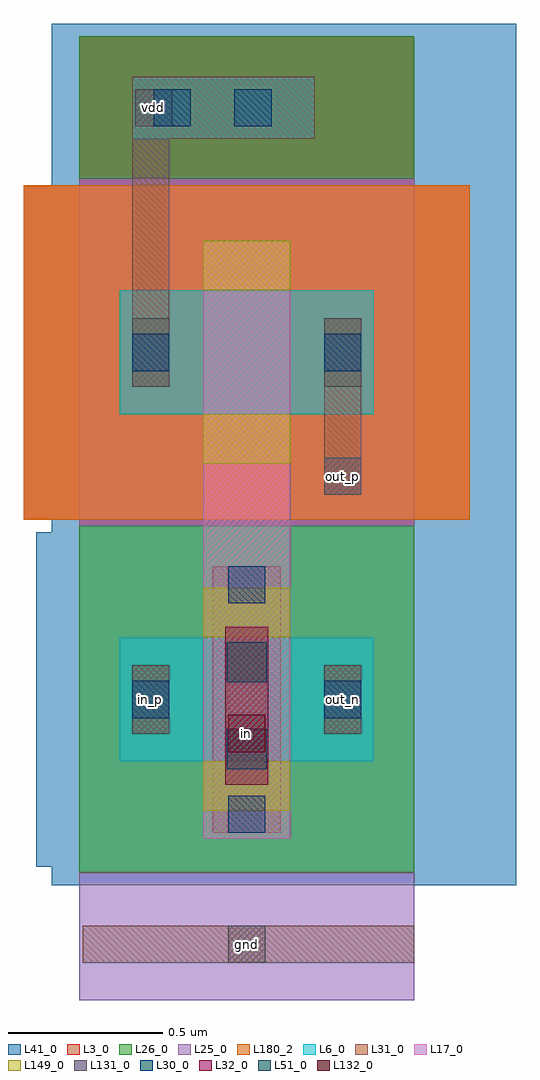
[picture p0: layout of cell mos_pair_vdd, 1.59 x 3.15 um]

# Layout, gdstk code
from math import pi, radians
import gdstk
lib = gdstk.Library(unit=1e-6, precision=1e-09)
def R(c, l, rs):  # rectangles x0, y0, x1, y1
    for r in rs: c.add(gdstk.rectangle(r[:2], r[2:], *l))
L3_0 = (3, 0)
L6_0 = (6, 0)
L17_0 = (17, 0)
L25_0 = (25, 0)
L26_0 = (26, 0)
L30_0 = (30, 0)
L31_0 = (31, 0)
L32_0 = (32, 0)
L41_0 = (41, 0)
L51_0 = (51, 0)
L131_0 = (131, 0)
L132_0 = (132, 0)
L149_0 = (149, 0)
L180_2 = (180, 2)

pc_ct = lib.new_cell('pc_ct')
R(pc_ct, L30_0, [(0,0,0.12,0.12)])

nsvt25_cdns_588001532920 = lib.new_cell('nsvt25_CDNS_588001532920')
R(nsvt25_cdns_588001532920, L6_0, [(-0.27,0,0,0.4), (-0.27,0,0.55,0.4), (0.28,0,0.55,0.4)])
R(nsvt25_cdns_588001532920, L17_0, [(0,-0.16,0.28,0.56)])
R(nsvt25_cdns_588001532920, L26_0, [(-0.4,-0.36,0.68,0.76)])
R(nsvt25_cdns_588001532920, L31_0, [(-0.23,0.09,-0.11,0.31), (0.39,0.09,0.51,0.31)])
R(nsvt25_cdns_588001532920, L41_0, [(-0.54,-0.34,0.82,0.74)])
R(nsvt25_cdns_588001532920, L131_0, [(-0.23,0.09,-0.11,0.31), (0.39,0.09,0.51,0.31)])
R(nsvt25_cdns_588001532920, L149_0, [(0,-0.16,0.28,0), (0,0.4,0.28,0.56)])
r = gdstk.Reference(pc_ct, (0.39,0.14)); r.repetition = gdstk.Repetition(1, 1, v1=(0.26,0), v2=(0,0.26)); nsvt25_cdns_588001532920.add(r)
r = gdstk.Reference(pc_ct, (-0.23,0.14)); r.repetition = gdstk.Repetition(1, 1, v1=(0.26,0), v2=(0,0.26)); nsvt25_cdns_588001532920.add(r)
nsvt25_cdns_588001532920.add(gdstk.Label('d', (0.28,0), layer=6, texttype=0))
nsvt25_cdns_588001532920.add(gdstk.Label('s', (0,0), layer=6, texttype=0))
nsvt25_cdns_588001532920.add(gdstk.Label('d', (0.415,0.2), layer=127, texttype=0))
nsvt25_cdns_588001532920.add(gdstk.Label('s', (-0.135,0.2), layer=127, texttype=0))
nsvt25_cdns_588001532920.add(gdstk.Label('d', (0.45,0.2), layer=131, texttype=0))
nsvt25_cdns_588001532920.add(gdstk.Label('s', (-0.17,0.2), layer=131, texttype=0))
nsvt25_cdns_588001532920.add(gdstk.Label('g', (0.14,0.48), layer=149, texttype=0))
nsvt25_cdns_588001532920.add(gdstk.Label('g', (0.14,-0.08), layer=149, texttype=0))

psvt25_cdns_588001532921 = lib.new_cell('psvt25_CDNS_588001532921')
R(psvt25_cdns_588001532921, L3_0, [(-0.58,-0.34,0.86,0.74)])
R(psvt25_cdns_588001532921, L6_0, [(-0.27,0,0,0.4), (-0.27,0,0.55,0.4), (0.28,0,0.55,0.4)])
R(psvt25_cdns_588001532921, L17_0, [(0,-0.16,0.28,0.56)])
R(psvt25_cdns_588001532921, L25_0, [(-0.4,-0.36,0.68,0.76)])
R(psvt25_cdns_588001532921, L31_0, [(-0.23,0.09,-0.11,0.31), (0.39,0.09,0.51,0.31)])
R(psvt25_cdns_588001532921, L41_0, [(-0.58,-0.34,0.86,0.74)])
R(psvt25_cdns_588001532921, L131_0, [(-0.23,0.09,-0.11,0.31), (0.39,0.09,0.51,0.31)])
R(psvt25_cdns_588001532921, L149_0, [(0,-0.16,0.28,0), (0,0.4,0.28,0.56)])
R(psvt25_cdns_588001532921, L180_2, [(-0.58,-0.34,0.86,0.74)])
r = gdstk.Reference(pc_ct, (0.39,0.14)); r.repetition = gdstk.Repetition(1, 1, v1=(0.26,0), v2=(0,0.26)); psvt25_cdns_588001532921.add(r)
r = gdstk.Reference(pc_ct, (-0.23,0.14)); r.repetition = gdstk.Repetition(1, 1, v1=(0.26,0), v2=(0,0.26)); psvt25_cdns_588001532921.add(r)
psvt25_cdns_588001532921.add(gdstk.Label('d', (0.28,0), layer=6, texttype=0))
psvt25_cdns_588001532921.add(gdstk.Label('s', (0,0), layer=6, texttype=0))
psvt25_cdns_588001532921.add(gdstk.Label('d', (0.415,0.2), layer=127, texttype=0))
psvt25_cdns_588001532921.add(gdstk.Label('s', (-0.135,0.2), layer=127, texttype=0))
psvt25_cdns_588001532921.add(gdstk.Label('d', (0.45,0.2), layer=131, texttype=0))
psvt25_cdns_588001532921.add(gdstk.Label('s', (-0.17,0.2), layer=131, texttype=0))
psvt25_cdns_588001532921.add(gdstk.Label('g', (0.14,0.48), layer=149, texttype=0))
psvt25_cdns_588001532921.add(gdstk.Label('g', (0.14,-0.08), layer=149, texttype=0))
psvt25_cdns_588001532921.add(gdstk.Label('b', (0.14,0.2), layer=180, texttype=2))

m1__po_cdns_588001532920 = lib.new_cell('M1__PO_CDNS_588001532920')
R(m1__po_cdns_588001532920, L17_0, [(-0.08,-0.11,0.08,0.11)])
R(m1__po_cdns_588001532920, L30_0, [(-0.06,-0.06,0.06,0.06)])
R(m1__po_cdns_588001532920, L31_0, [(-0.06,-0.11,0.06,0.11)])

m2_m1_g_cdns_58800153292 = lib.new_cell('M2_M1_G_CDNS_588001532921')
R(m2_m1_g_cdns_58800153292, L31_0, [(-0.255,-0.07,0.255,0.07)])
R(m2_m1_g_cdns_58800153292, L32_0, [(-0.255,-0.07,0.255,0.07)])
R(m2_m1_g_cdns_58800153292, L51_0, [(-0.205,-0.065,-0.075,0.065), (0.075,-0.065,0.205,0.065)])

mos_pair_vdd = lib.new_cell('mos_pair_vdd')
R(mos_pair_vdd, L3_0, [(0,1.12,1.08,2.7)])
R(mos_pair_vdd, L17_0, [(0.4,0.11,0.68,0.2)])
R(mos_pair_vdd, L25_0, [(0,-0.41,1.08,0)])
R(mos_pair_vdd, L26_0, [(0,2.24,0.04,2.7), (0.89,2.24,1.08,2.7)])
R(mos_pair_vdd, L30_0, [(0.24,2.41,0.36,2.53), (0.5,2.41,0.62,2.53)])
R(mos_pair_vdd, L31_0, [(0.43,0.25,0.65,0.87)])
R(mos_pair_vdd, L41_0, [(-0.09,-0.04,1.41,2.74)])
R(mos_pair_vdd, L131_0, [(0.48,-0.29,0.6,-0.17), (0.17,0.5,0.29,0.62), (0.79,0.5,0.91,0.62), (0.79,1.22,0.91,1.34), (0.18,2.41,0.3,2.53)])
R(mos_pair_vdd, L132_0, [(0.48,0.39,0.6,0.51)])
mos_pair_vdd.add(gdstk.FlexPath([(0.17,2.47),(0.76,2.47)], 0.2, ends="flush", simple_path=True, layer=6, datatype=0))  # L6_0
mos_pair_vdd.add(gdstk.FlexPath([(0.85,1.57),(0.85,1.22)], 0.12, ends="flush", simple_path=True, layer=31, datatype=0))  # L31_0
mos_pair_vdd.add(gdstk.FlexPath([(1.08,-0.23),(0.17,-0.23)], 0.12, ends="flush", simple_path=True, layer=31, datatype=0))  # L31_0
mos_pair_vdd.add(gdstk.FlexPath([(0.17,-0.23),(0.01,-0.23)], 0.12, ends="flush", simple_path=True, layer=31, datatype=0))  # L31_0
mos_pair_vdd.add(gdstk.FlexPath([(0.23,2.47),(0.18,2.47)], 0.12, ends=(0.06, 0), simple_path=True, layer=31, datatype=0))  # L31_0
mos_pair_vdd.add(gdstk.FlexPath([(0.23,1.79),(0.23,2.47)], 0.12, ends=(0, 0.06), simple_path=True, layer=31, datatype=0))  # L31_0
mos_pair_vdd.add(gdstk.FlexPath([(0.17,2.47),(0.76,2.47)], 0.2, ends="flush", simple_path=True, layer=31, datatype=0))  # L31_0
mos_pair_vdd.add(gdstk.FlexPath([(0.54,1.32),(0.54,0.92)], 0.28, ends="flush", simple_path=True, layer=17, datatype=0))  # L17_0
mos_pair_vdd.add(gdstk.FlexPath([(0.04,2.47),(0.89,2.47)], 0.46, ends="flush", simple_path=True, layer=26, datatype=0))  # L26_0
mos_pair_vdd.add(gdstk.Reference(nsvt25_cdns_588001532920, (0.4,0.36)))
mos_pair_vdd.add(gdstk.Reference(psvt25_cdns_588001532921, (0.4,1.48)))
mos_pair_vdd.add(gdstk.Reference(m1__po_cdns_588001532920, (0.54,0.93), rotation=pi/2))
mos_pair_vdd.add(gdstk.Reference(m1__po_cdns_588001532920, (0.54,0.19), rotation=pi/2))
mos_pair_vdd.add(gdstk.Reference(m2_m1_g_cdns_58800153292, (0.54,0.54), rotation=pi/2))
mos_pair_vdd.add(gdstk.Label('in_p', (0.23,0.56), layer=131, texttype=0))
mos_pair_vdd.add(gdstk.Label('vdd', (0.24,2.47), layer=131, texttype=0))
mos_pair_vdd.add(gdstk.Label('gnd', (0.54,-0.23), layer=131, texttype=0))
mos_pair_vdd.add(gdstk.Label('out_p', (0.85,1.28), layer=131, texttype=0))
mos_pair_vdd.add(gdstk.Label('out_n', (0.85,0.56), layer=131, texttype=0))
mos_pair_vdd.add(gdstk.Label('in', (0.54,0.45), layer=132, texttype=0))

lib.write_gds('mos_pair_vdd.gds')
